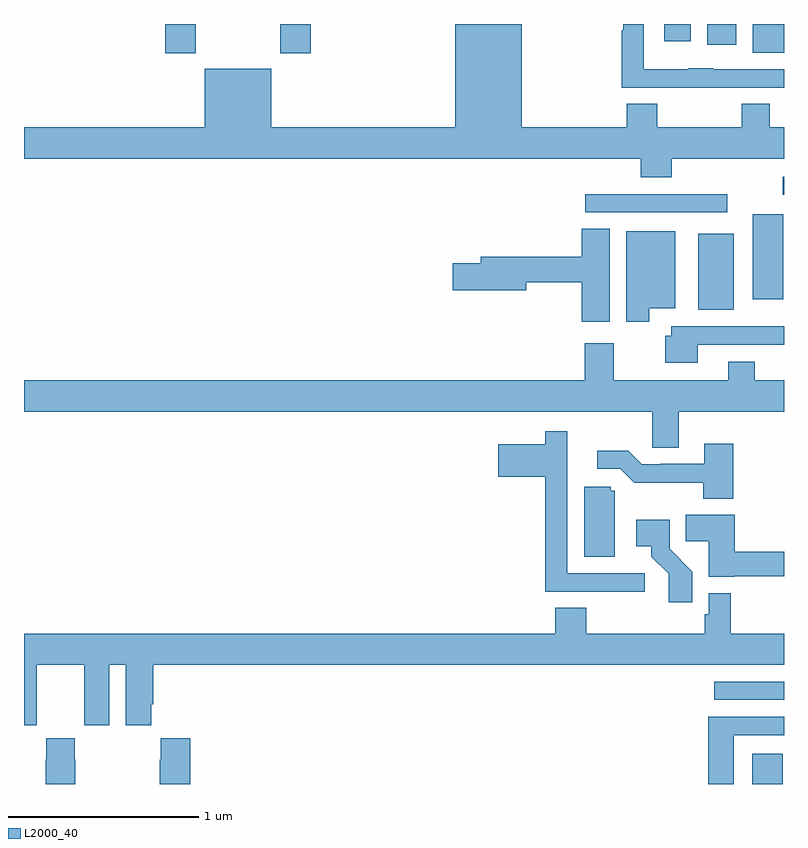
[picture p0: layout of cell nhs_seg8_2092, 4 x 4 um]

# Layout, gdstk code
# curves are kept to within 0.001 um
import gdstk
lib = gdstk.Library(unit=1e-6, precision=1e-09)
def R(c, l, rs):  # rectangles x0, y0, x1, y1
    for r in rs: c.add(gdstk.rectangle(r[:2], r[2:], *l))
def P(c, l, *ps):  # polygons
    for p in ps: c.add(gdstk.Polygon(p, *l))
L2000_40 = (2000, 40)

nhs_seg8_2092 = lib.new_cell('nhs_seg8_2092')
R(nhs_seg8_2092, L2000_40, [(246.833,1087.9,246.994,1088.059), (246.633,1088.343,247,1088.439), (246.548,1090.397,246.736,1090.795), (246.836,1090.452,246.997,1090.9), (245.955,1090.908,246.7,1091.004), (246.993,1091.001,247,1091.097), (243.743,1091.745,243.903,1091.9), (244.348,1091.745,244.508,1091.9), (246.836,1091.75,247,1091.9), (246.596,1091.79,246.748,1091.9), (246.371,1091.808,246.508,1091.9)])
P(nhs_seg8_2092, L2000_40, [(246.173,1091.48),(246.173,1091.356),(245.62,1091.356),(245.62,1091.9),(245.27,1091.9),(245.27,1091.356),(244.3,1091.356),(244.3,1091.665),(243.95,1091.665),(243.95,1091.356),(243,1091.356),(243,1091.192),(246.245,1091.192),(246.245,1091.093),(246.41,1091.093),(246.41,1091.192),(247,1091.192),(247,1091.356),(246.925,1091.356),(246.925,1091.48),(246.778,1091.48),(246.778,1091.356),(246.333,1091.356),(246.333,1091.48)],
  [(246.627,1091.565),(247,1091.565),(247,1091.661),(246.627,1091.661),(246.627,1091.668),(246.495,1091.668),(246.495,1091.662),(246.261,1091.662),(246.261,1091.9),(246.153,1091.9),(246.153,1091.868),(246.145,1091.868),(246.145,1091.565),(246.395,1091.565),(246.395,1091.564),(246.627,1091.564)],
  [(246.082,1090.823),(245.936,1090.823),(245.936,1090.676),(245.405,1090.676),(245.405,1090.64),(245.256,1090.64),(245.256,1090.498),(245.644,1090.498),(245.644,1090.54),(245.936,1090.54),(245.936,1090.332),(246.082,1090.332)],
  [(246.292,1090.403),(246.427,1090.403),(246.427,1090.81),(246.17,1090.81),(246.17,1090.332),(246.292,1090.332)],
  [(246.547,1090.212),(247,1090.212),(247,1090.308),(246.407,1090.308),(246.407,1090.258),(246.374,1090.258),(246.374,1090.118),(246.547,1090.118)],
  [(246.445,1089.86),(247,1089.86),(247,1090.024),(246.847,1090.024),(246.847,1090.123),(246.707,1090.123),(246.707,1090.024),(246.103,1090.024),(246.103,1090.219),(245.951,1090.219),(245.951,1090.024),(243,1090.024),(243,1089.86),(246.306,1089.86),(246.306,1089.67),(246.445,1089.67)],
  [(246.268,1089.009),(245.859,1089.009),(245.859,1089.534),(245.86,1089.534),(245.86,1089.757),(245.743,1089.757),(245.743,1089.688),(245.496,1089.688),(245.496,1089.518),(245.743,1089.518),(245.743,1088.913),(246.043,1088.913),(246.043,1088.911),(246.268,1088.911)],
  [(246.734,1089.691),(246.581,1089.691),(246.581,1089.585),(246.352,1089.585),(246.352,1089.582),(246.252,1089.582),(246.179,1089.655),(246.018,1089.655),(246.018,1089.558),(246.138,1089.558),(246.211,1089.485),(246.574,1089.486),(246.574,1089.401),(246.734,1089.401)],
  [(246.109,1089.444),(246.087,1089.444),(246.087,1089.465),(245.948,1089.465),(245.948,1089.096),(246.109,1089.096)],
  [(246.738,1088.994),(247,1088.994),(247,1089.122),(246.742,1089.122),(246.742,1089.316),(246.484,1089.316),(246.484,1089.178),(246.605,1089.178),(246.605,1088.99),(246.738,1088.99)],
  [(246.518,1089.018),(246.399,1089.137),(246.399,1089.292),(246.222,1089.292),(246.222,1089.152),(246.302,1089.152),(246.302,1089.097),(246.393,1089.007),(246.393,1088.856),(246.518,1088.856)],
  [(247,1088.692),(246.719,1088.692),(246.719,1088.905),(246.603,1088.905),(246.603,1088.793),(246.583,1088.793),(246.583,1088.692),(245.96,1088.692),(245.96,1088.828),(245.795,1088.828),(245.795,1088.692),(243,1088.692),(243,1088.208),(243.066,1088.208),(243.066,1088.32),(243.067,1088.32),(243.067,1088.528),(243.317,1088.528),(243.317,1088.32),(243.318,1088.32),(243.318,1088.208),(243.448,1088.208),(243.448,1088.528),(243.536,1088.528),(243.536,1088.208),(243.67,1088.208),(243.67,1088.32),(243.68,1088.32),(243.68,1088.528),(247,1088.528)],
  [(246.736,1088.157),(247,1088.157),(247,1088.253),(246.602,1088.253),(246.602,1087.9),(246.736,1087.9)],
  [(243.875,1088.14),(243.721,1088.14),(243.721,1088.027),(243.715,1088.027),(243.715,1087.9),(243.875,1087.9)],
  [(243.27,1088.027),(243.267,1088.027),(243.267,1088.14),(243.117,1088.14),(243.117,1088.027),(243.115,1088.027),(243.115,1087.9),(243.27,1087.9)])

lib.write_gds('nhs_seg8_2092.gds')
